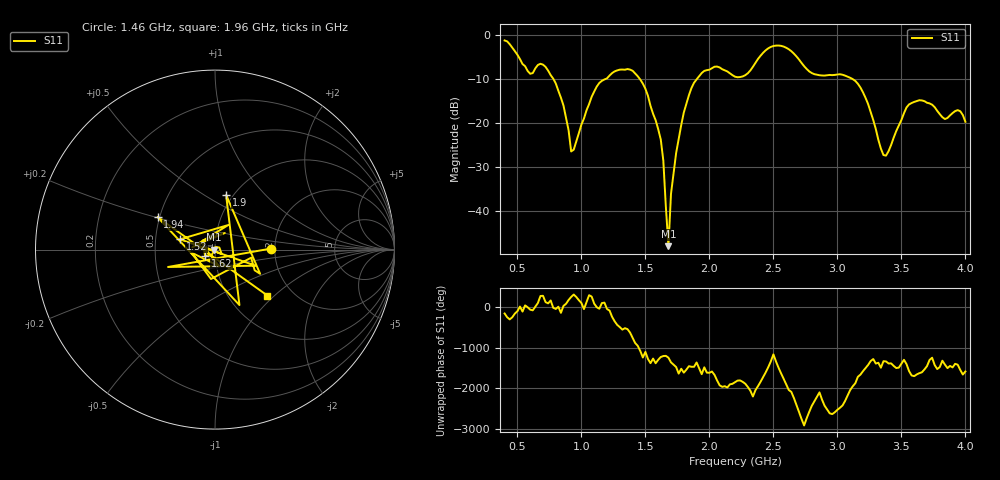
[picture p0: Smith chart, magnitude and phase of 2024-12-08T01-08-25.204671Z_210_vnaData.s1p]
!Created with skrf (http://scikit-rf.org).
# Hz S RI R 50.0
!freq ReS11 ImS11
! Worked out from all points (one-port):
!   181 points, 400 MHz to 4 GHz, reference 50 ohm
!   lowest |S11| = -47.9 dB at 1.68 GHz (marker M1), VSWR 1.01, Z = 49.6 - j0.107 ohm
!   |S11| at or under -10 dB: 780.6 MHz to 1.192 GHz (411.7 MHz wide, 41.7 % of centre); 1.455 GHz to 1.904 GHz (448.3 MHz wide, 26.7 % of centre); 3.115 GHz to end of sweep
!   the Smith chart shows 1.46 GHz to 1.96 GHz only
!   S11 on the Smith chart (normalised r, x): 1.46 GHz: 1.90, +0.02; 1.52 GHz: 0.67, +0.08; 1.62 GHz: 0.89, -0.06; 1.9 GHz: 0.93, +0.63; 1.94 GHz: 0.49, +0.20; 1.96 GHz: 1.50, -0.90
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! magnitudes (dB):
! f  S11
! 400 MHz  -1.3
! 600 MHz  -8.9
! 720 MHz  -7.3
! 860 MHz  -16.1
! 920 MHz  -26.4
! 1.12 GHz  -11.8
! 1.3 GHz  -7.9
! 1.46 GHz  -10.2
! 1.52 GHz  -13.8
! 1.62 GHz  -23.7
! 1.64 GHz  -28.5
! 1.68 GHz  -47.9
! 1.7 GHz  -36.0
! 1.76 GHz  -23.7
! 1.82 GHz  -15.6
! 1.9 GHz  -10.1
! 1.94 GHz  -8.7
! 1.96 GHz  -8.2
! 2.2 GHz  -9.5
! 2.48 GHz  -2.8
! 2.66 GHz  -4.3
! 2.82 GHz  -9.0
! 3.1 GHz  -9.8
! 3.22 GHz  -14.3
! 3.36 GHz  -27.3
! 3.56 GHz  -15.8
! 3.94 GHz  -17.1
! 4 GHz  -19.7
